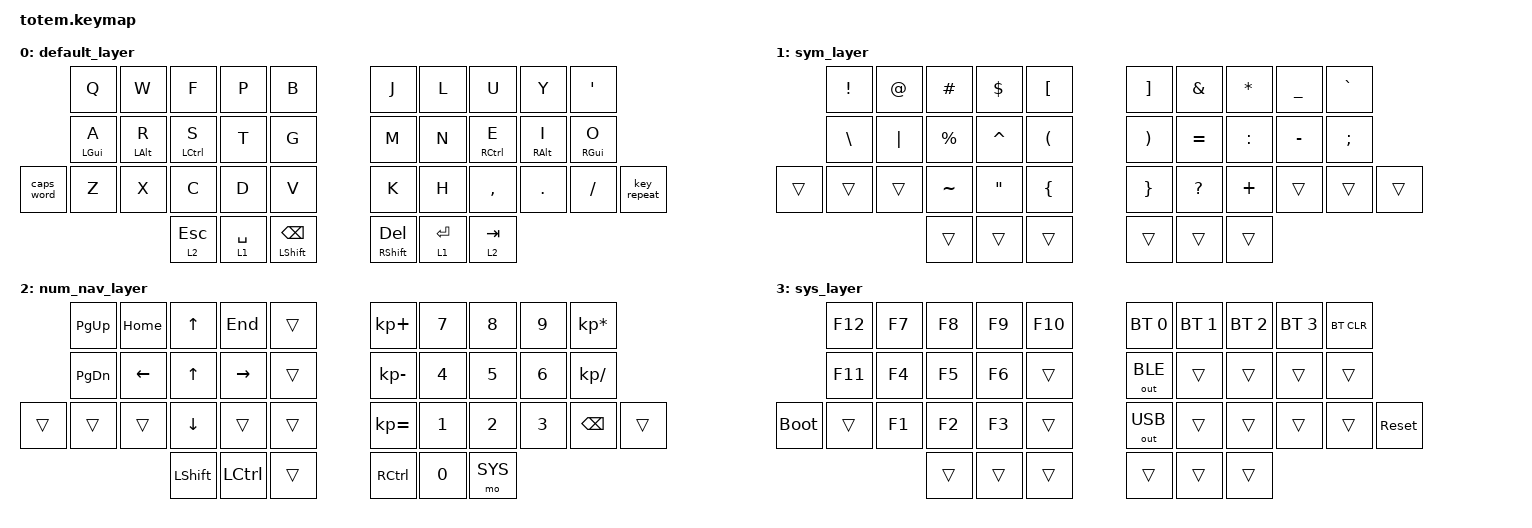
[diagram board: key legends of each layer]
//
//                                                        ▀▀▀▀▀     ▀▀▀▀▀          ▀▀█▀▀
//                                                        ▄▀▀▀▄  ▄  ▄▀▀▀▄  ▄  ▄▀▀▀▄  █  ▄▀▀▀▄
//                                                        █   █  █  █   █  █  █   █  █  █   █
//                                                         ▀▀▀   █   ▀▀▀   █   ▀▀▀   ▀   ▀▀▀
//                                                               █      ▄▄▄█▄▄▄    █   █  
//                                                               ▀      █  █  █     █▄█
//                                                             ▀▀▀▀▀    █  █  █      ▀
//                                                                      ▀  ▀  ▀
//
// ▄▄▄▄▄▄▄▄▄▄▄▄▄▄▄▄▄▄▄▄▄▄▄▄▄▄▄▄▄▄▄▄▄▄▄▄▄▄▄▄▄▄▄▄▄▄▄▄▄▄▄▄▄▄▄▄▄▄▄▄▄▄▄▄▄▄▄▄▄▄▄▄▄▄▄▄▄▄▄▄▄▄▄▄▄▄▄▄▄▄▄▄▄▄▄▄▄▄▄▄▄▄▄▄▄▄▄▄▄▄▄▄▄▄▄▄▄▄▄▄▄▄▄▄▄▄▄▄▄▄▄▄▄▄▄▄▄▄▄▄▄▄▄▄▄▄▄▄▄
/*
 * Optimized Totem Layout (Programmer Edition v2)
 * - Swapped GUI/ALT
 * - Nav on Left (ESDF), Num on Right
 * - Center-facing Brackets
 */

#include <behaviors.dtsi>
#include <dt-bindings/zmk/bt.h>
#include <dt-bindings/zmk/keys.h>
#include <dt-bindings/zmk/outputs.h>

/* Layer Definitions */

#define BASE 0
#define SYM  1
#define NUM  2  /* Acts as NAV (Left) and NUM (Right) */
#define SYS  3

/ {
    behaviors {
        /*
         * TIMELESS HOME ROW MODS
         * Order: GUI | ALT | CTRL | ALPHA
         */

        hm: homerow_mods {
            compatible = "zmk,behavior-hold-tap";
            label = "HOMEROW_MODS";
            #binding-cells = <2>;
            tapping-term-ms = <200>;
            quick-tap-ms = <200>;
            flavor = "tap-preferred";
            require-prior-idle-ms = <125>;
            hold-trigger-on-release;
            bindings = <&kp>, <&kp>;
        };
    };

    combos { compatible = "zmk,combos"; };

    keymap {
        compatible = "zmk,keymap";

        /*
         * Layer 0: BASE (Colemak-DH)
         * -----------------------------------------------------------------------------------------
         * |  Q  |  W  |  F  |  P  |  B  |   |  J  |  L  |  U  |  Y  |  '  |
         * |  A  |  R  |  S  |  T  |  G  |   |  M  |  N  |  E  |  I  |  O  |
         * |(GUI)|(ALT)|(CTL)|     |     |   |     |     |(CTL)|(ALT)|(GUI)|
         * | CAPS|  Z  |  X  |  C  |  D  | V |  K  |  H  |  ,  |  .  |  /  | RPT |
         *             | ESC | SPC | BKSP|   | DEL | RET | TAB |
         *                   (SYM)             (NUM)
         */

        default_layer {
            bindings = <
            &kp Q       &kp W       &kp F         &kp P        &kp B                       &kp J                &kp L        &kp U        &kp Y       &kp APOS
            &hm LGUI A  &hm LALT R  &hm LCTRL S   &kp T        &kp G                       &kp M                &kp N        &hm RCTRL E  &hm RALT I  &hm RGUI O
&caps_word  &kp Z       &kp X       &kp C         &kp D        &kp V                       &kp K                &kp H        &kp COMMA    &kp DOT     &kp FSLH    &key_repeat
                                    &lt 2 ESCAPE  &lt 1 SPACE  &mt LEFT_SHIFT BACKSPACE    &mt RIGHT_SHIFT DEL  &lt 1 ENTER  &lt 2 TAB
            >;
        };

        /*
         * Layer 1: SYMBOLS
         * -----------------------------------------------------------------------------------------
         * - Brackets face each other on Inner Columns (Left: [({ Right: })])
         * - General symbols distributed for flow
         */

        sym_layer {
            bindings = <
        &kp EXCL  &kp AT    &kp HASH   &kp DLLR           &kp LBKT    &kp RBKT  &kp AMPS      &kp STAR   &kp UNDERSCORE  &kp GRAVE
        &kp BSLH  &kp PIPE  &kp PRCNT  &kp CARET          &kp LPAR    &kp RPAR  &kp EQUAL     &kp COLON  &kp MINUS       &kp SEMI
&trans  &trans    &trans    &kp TILDE  &kp DOUBLE_QUOTES  &kp LBRC    &kp RBRC  &kp QUESTION  &kp PLUS   &trans          &trans     &trans
                            &trans     &trans             &trans      &trans    &trans        &trans
            >;
        };

        /*
         * Layer 2: NAV (Left) & NUM (Right)
         * -----------------------------------------------------------------------------------------
         * LEFT HAND (Nav):
         * - E/S/D/F = Up/Left/Down/Right (WASD shifted to home row area)
         * - Home/End available
         * RIGHT HAND (Num):
         * - Numpad 789 / 456 / 123 / 0
         * - Algorithmic Math: + - * / =
         * - Modifiers (Ctrl/Shift) & Delete available on idle hands
         */

        num_nav_layer {
            bindings = <
        &kp PG_UP  &kp HOME  &kp UP        &kp END    &trans    &kp KP_PLUS   &kp N7  &kp N8   &kp N9  &kp KP_MULTIPLY
        &kp PG_DN  &kp LEFT  &kp UP_ARROW  &kp RIGHT  &trans    &kp KP_MINUS  &kp N4  &kp N5   &kp N6  &kp KP_DIVIDE
&trans  &trans     &trans    &kp DOWN      &trans     &trans    &kp KP_EQUAL  &kp N1  &kp N2   &kp N3  &kp BSPC         &trans
                             &kp LSHIFT    &kp LCTRL  &trans    &kp RCTRL     &kp N0  &mo SYS
            >;
        };

        /*
         * Layer 3: SYSTEM (F-Keys, BT)
         * Accessed by holding Right Outer Thumb (Tab position mapped to &mo SYS in previous layer)
         */

        sys_layer {
            bindings = <
             &kp F12  &kp F7  &kp F8  &kp F9  &kp F10    &bt BT_SEL 0  &bt BT_SEL 1  &bt BT_SEL 2  &bt BT_SEL 3  &bt BT_CLR
             &kp F11  &kp F4  &kp F5  &kp F6  &trans     &out OUT_BLE  &trans        &trans        &trans        &trans
&bootloader  &trans   &kp F1  &kp F2  &kp F3  &trans     &out OUT_USB  &trans        &trans        &trans        &trans      &sys_reset
                              &trans  &trans  &trans     &trans        &trans        &trans
            >;
        };
    };
};
